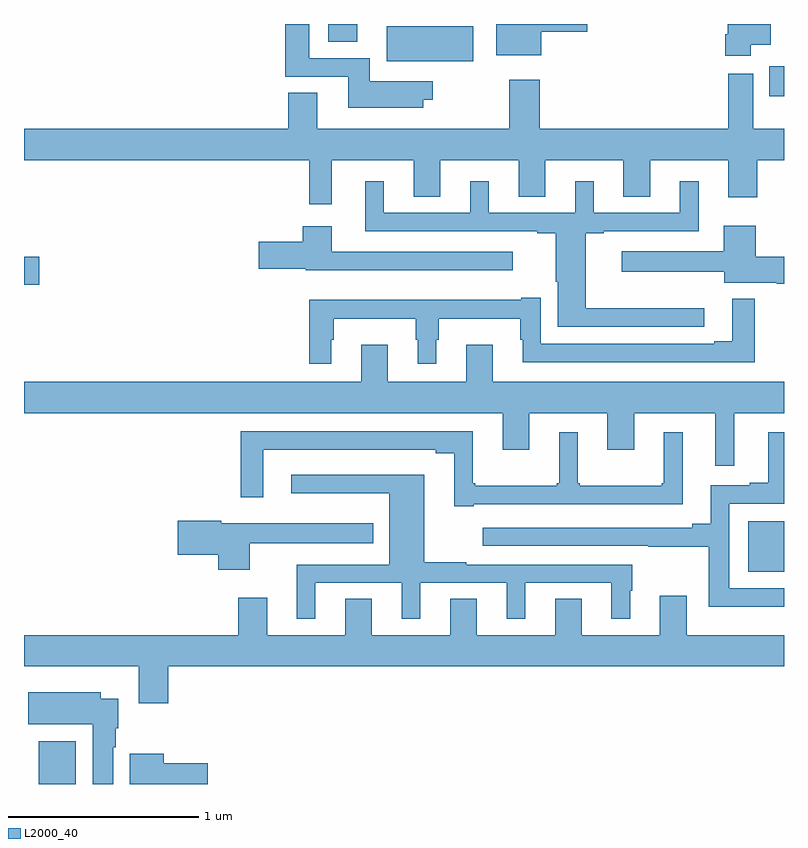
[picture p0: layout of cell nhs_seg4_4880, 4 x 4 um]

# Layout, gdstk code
import gdstk
lib = gdstk.Library(unit=1e-6, precision=1e-09)
def R(c, l, rs):  # rectangles x0, y0, x1, y1
    for r in rs: c.add(gdstk.rectangle(r[:2], r[2:], *l))
def P(c, l, *ps):  # polygons
    for p in ps: c.add(gdstk.Polygon(p, *l))
L2000_40 = (2000, 40)

nhs_seg4_4880 = lib.new_cell('nhs_seg4_4880')
R(nhs_seg4_4880, L2000_40, [(375.077,762.9,375.273,763.126), (378.812,764.018,379,764.284), (375,765.527,375.079,765.674), (378.923,766.52,379,766.678), (376.601,766.806,376.753,766.9)])
P(nhs_seg4_4880, L2000_40, [(377.722,766.859),(377.965,766.859),(377.965,766.9),(377.486,766.9),(377.486,766.736),(377.722,766.736)],
  [(378.826,766.79),(378.931,766.79),(378.931,766.9),(378.704,766.9),(378.704,766.846),(378.692,766.846),(378.692,766.734),(378.826,766.734)],
  [(377.101,766.502),(377.152,766.502),(377.152,766.599),(376.819,766.599),(376.819,766.719),(376.501,766.719),(376.501,766.9),(376.376,766.9),(376.376,766.623),(376.706,766.623),(376.706,766.46),(377.101,766.46)],
  [(377.364,766.887),(377.261,766.887),(377.261,766.888),(376.91,766.888),(376.91,766.703),(377.364,766.703)],
  [(376.619,766.184),(377.051,766.184),(377.051,765.991),(377.191,765.991),(377.191,766.184),(377.603,766.184),(377.603,765.991),(377.743,765.991),(377.743,766.184),(378.155,766.184),(378.155,765.991),(378.295,765.991),(378.295,766.184),(378.707,766.184),(378.707,765.987),(378.86,765.987),(378.86,766.184),(379,766.184),(379,766.348),(378.838,766.348),(378.838,766.639),(378.707,766.639),(378.707,766.348),(377.714,766.348),(377.714,766.606),(377.554,766.606),(377.554,766.348),(376.543,766.348),(376.543,766.538),(376.391,766.538),(376.391,766.348),(375,766.348),(375,766.184),(376.501,766.184),(376.501,765.951),(376.619,765.951)],
  [(378.58,765.404),(377.956,765.404),(377.956,765.798),(378.052,765.798),(378.052,765.81),(378.55,765.81),(378.55,766.072),(378.452,766.072),(378.452,765.906),(377.998,765.906),(377.998,766.072),(377.9,766.072),(377.9,765.906),(377.446,765.906),(377.446,766.072),(377.348,766.072),(377.348,765.906),(376.894,765.906),(376.894,766.072),(376.796,766.072),(376.796,765.81),(377.702,765.81),(377.702,765.798),(377.798,765.798),(377.798,765.543),(377.81,765.543),(377.81,765.306),(378.58,765.306)],
  [(379,765.676),(378.85,765.676),(378.85,765.838),(378.683,765.838),(378.683,765.703),(378.147,765.703),(378.147,765.596),(378.686,765.596),(378.686,765.539),(378.962,765.539),(378.962,765.532),(379,765.532)],
  [(377.572,765.702),(376.621,765.702),(376.621,765.835),(376.466,765.835),(376.466,765.753),(376.236,765.753),(376.236,765.611),(376.482,765.611),(376.482,765.605),(377.572,765.605)],
  [(376.618,765.239),(376.63,765.239),(376.63,765.35),(377.061,765.35),(377.061,765.239),(377.072,765.239),(377.072,765.111),(377.17,765.111),(377.17,765.239),(377.182,765.239),(377.182,765.35),(377.613,765.35),(377.613,765.239),(377.624,765.239),(377.624,765.12),(378.845,765.12),(378.845,765.454),(378.728,765.454),(378.728,765.229),(378.632,765.229),(378.632,765.216),(377.721,765.216),(377.721,765.46),(377.618,765.46),(377.618,765.448),(376.501,765.448),(376.501,765.111),(376.618,765.111)],
  [(378.737,764.852),(379,764.852),(379,765.016),(377.467,765.016),(377.467,765.211),(377.327,765.211),(377.327,765.016),(376.915,765.016),(376.915,765.211),(376.775,765.211),(376.775,765.016),(375,765.016),(375,764.852),(377.519,764.852),(377.519,764.658),(377.659,764.658),(377.659,764.852),(378.071,764.852),(378.071,764.658),(378.211,764.658),(378.211,764.852),(378.638,764.852),(378.638,764.574),(378.737,764.574)],
  [(377.368,764.373),(378.466,764.373),(378.466,764.752),(378.368,764.752),(378.368,764.482),(378.357,764.482),(378.357,764.471),(377.926,764.471),(377.926,764.482),(377.914,764.482),(377.914,764.752),(377.816,764.752),(377.816,764.482),(377.805,764.482),(377.805,764.471),(377.374,764.471),(377.374,764.482),(377.362,764.482),(377.362,764.757),(376.141,764.757),(376.141,764.409),(376.258,764.409),(376.258,764.66),(377.168,764.66),(377.168,764.641),(377.264,764.641),(377.264,764.361),(377.368,764.361)],
  [(379,763.929),(378.711,763.929),(378.711,764.376),(379,764.376),(379,764.752),(378.917,764.752),(378.917,764.485),(378.821,764.485),(378.821,764.472),(378.614,764.472),(378.614,764.27),(378.518,764.27),(378.518,764.25),(377.415,764.25),(377.415,764.154),(378.286,764.154),(378.286,764.149),(378.603,764.149),(378.603,763.832),(379,763.832)],
  [(376.534,763.959),(376.988,763.959),(376.988,763.769),(377.086,763.769),(377.086,763.959),(377.54,763.959),(377.54,763.769),(377.638,763.769),(377.638,763.959),(378.092,763.959),(378.092,763.769),(378.19,763.769),(378.19,763.916),(378.202,763.916),(378.202,764.055),(377.327,764.055),(377.327,764.068),(377.107,764.068),(377.107,764.527),(376.407,764.527),(376.407,764.429),(376.922,764.429),(376.922,764.055),(376.435,764.055),(376.435,763.916),(376.436,763.916),(376.436,763.769),(376.534,763.769)],
  [(376.189,764.168),(376.837,764.168),(376.837,764.272),(376.038,764.272),(376.038,764.285),(375.81,764.285),(375.81,764.107),(376.022,764.107),(376.022,764.028),(376.189,764.028)],
  [(375.758,763.52),(379,763.52),(379,763.684),(378.487,763.684),(378.487,763.891),(378.347,763.891),(378.347,763.684),(377.935,763.684),(377.935,763.874),(377.795,763.874),(377.795,763.684),(377.383,763.684),(377.383,763.874),(377.243,763.874),(377.243,763.684),(376.831,763.684),(376.831,763.874),(376.691,763.874),(376.691,763.684),(376.279,763.684),(376.279,763.879),(376.127,763.879),(376.127,763.684),(375,763.684),(375,763.52),(375.605,763.52),(375.605,763.326),(375.758,763.326)],
  [(375.469,763.094),(375.484,763.094),(375.484,763.194),(375.496,763.194),(375.496,763.348),(375.403,763.348),(375.403,763.384),(375.023,763.384),(375.023,763.214),(375.362,763.214),(375.362,762.9),(375.469,762.9)],
  [(375.967,763.01),(375.736,763.01),(375.736,763.06),(375.557,763.06),(375.557,762.9),(375.967,762.9)])

lib.write_gds('nhs_seg4_4880.gds')
